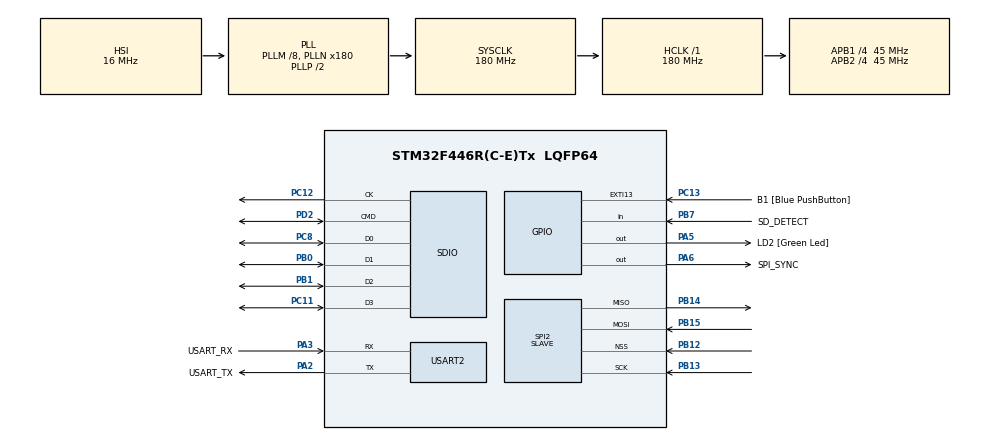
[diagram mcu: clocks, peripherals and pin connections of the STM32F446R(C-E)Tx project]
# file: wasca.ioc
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Dma.Request0=SPI2_RX
Dma.Request1=SPI2_TX
Dma.SPI2_RX.0.Direction=DMA_PERIPH_TO_MEMORY
Dma.SPI2_RX.0.FIFOMode=DMA_FIFOMODE_DISABLE
Dma.SPI2_RX.0.Instance=DMA1_Stream3
Dma.SPI2_RX.0.MemDataAlignment=DMA_MDATAALIGN_HALFWORD
Dma.SPI2_RX.0.MemInc=DMA_MINC_ENABLE
Dma.SPI2_RX.0.Mode=DMA_NORMAL
Dma.SPI2_RX.0.PeriphDataAlignment=DMA_PDATAALIGN_HALFWORD
Dma.SPI2_RX.0.PeriphInc=DMA_PINC_DISABLE
Dma.SPI2_RX.0.Priority=DMA_PRIORITY_VERY_HIGH
Dma.SPI2_TX.1.Direction=DMA_MEMORY_TO_PERIPH
Dma.SPI2_TX.1.FIFOMode=DMA_FIFOMODE_DISABLE
Dma.SPI2_TX.1.Instance=DMA1_Stream4
Dma.SPI2_TX.1.MemDataAlignment=DMA_MDATAALIGN_HALFWORD
Dma.SPI2_TX.1.MemInc=DMA_MINC_ENABLE
Dma.SPI2_TX.1.Mode=DMA_NORMAL
Dma.SPI2_TX.1.PeriphDataAlignment=DMA_PDATAALIGN_HALFWORD
Dma.SPI2_TX.1.PeriphInc=DMA_PINC_DISABLE
Dma.SPI2_TX.1.Priority=DMA_PRIORITY_VERY_HIGH
FATFS.BSP.number=1
FATFS0.BSP.STBoard=false
FATFS0.BSP.api=Unknown
FATFS0.BSP.i2caddr=0
FATFS0.BSP.instance=PB7
FATFS0.BSP.ip=GPIO
FATFS0.BSP.mode=Input
FATFS0.BSP.name=Detect_SDIO
FATFS0.BSP.solution=PB7
Mcu.Family=STM32F4
Mcu.Name=STM32F446R(C-E)Tx
Mcu.Package=LQFP64
NVIC.DMA1_Stream3_IRQn=true\:0\:0\:false\:false\:true\:false\:true
NVIC.DMA1_Stream4_IRQn=true\:0\:0\:false\:false\:true\:false\:true
NVIC.PriorityGroup=NVIC_PRIORITYGROUP_0
NVIC.SPI2_IRQn=true\:0\:0\:false\:false\:true\:true\:true
PA13.GPIO_Label=TMS
PA13.Mode=JTAG_5_pins
PA13.Signal=SYS_JTMS-SWDIO
PA14.GPIO_Label=TCK
PA14.Mode=JTAG_5_pins
PA14.Signal=SYS_JTCK-SWCLK
PA15.Mode=JTAG_5_pins
PA15.Signal=SYS_JTDI
PA2.GPIO_Label=USART_TX
PA2.Mode=Asynchronous
PA2.Signal=USART2_TX
PA3.GPIO_Label=USART_RX
PA3.Mode=Asynchronous
PA3.Signal=USART2_RX
PA5.GPIO_Label=LD2 [Green Led]
PA5.Signal=GPIO_Output
PA6.GPIO_Label=SPI_SYNC
PA6.GPIO_Speed=GPIO_SPEED_FREQ_VERY_HIGH
PA6.PinState=GPIO_PIN_SET
PA6.Signal=GPIO_Output
PB0.Mode=SD_4_bits_Wide_bus
PB0.Signal=SDIO_D1
PB1.Mode=SD_4_bits_Wide_bus
PB1.Signal=SDIO_D2
PB12.Mode=NSS_Signal_Hard_Input
PB12.Signal=SPI2_NSS
PB13.Mode=Full_Duplex_Slave
PB13.Signal=SPI2_SCK
PB14.Mode=Full_Duplex_Slave
PB14.Signal=SPI2_MISO
PB15.Mode=Full_Duplex_Slave
PB15.Signal=SPI2_MOSI
PB3.GPIO_Label=SWO
PB3.Mode=JTAG_5_pins
PB3.Signal=SYS_JTDO-SWO
PB4.Mode=JTAG_5_pins
PB4.Signal=SYS_JTRST
PB7.GPIO_Label=SD_DETECT
PB7.Signal=GPIO_Input
PC11.Mode=SD_4_bits_Wide_bus
PC11.Signal=SDIO_D3
PC12.GPIO_PuPd=GPIO_NOPULL
PC12.Mode=SD_4_bits_Wide_bus
PC12.Signal=SDIO_CK
PC13.GPIO_Label=B1 [Blue PushButton]
PC13.GPIO_ModeDefaultEXTI=GPIO_MODE_IT_FALLING
PC13.Signal=GPXTI13
PC14-OSC32_IN.Mode=LSE-External-Oscillator
PC14-OSC32_IN.Signal=RCC_OSC32_IN
PC15-OSC32_OUT.Mode=LSE-External-Oscillator
PC15-OSC32_OUT.Signal=RCC_OSC32_OUT
PC8.Mode=SD_4_bits_Wide_bus
PC8.Signal=SDIO_D0
PD2.GPIO_PuPd=GPIO_NOPULL
PD2.Mode=SD_4_bits_Wide_bus
PD2.Signal=SDIO_CMD
PH0-OSC_IN.Mode=HSE-External-Oscillator
PH0-OSC_IN.Signal=RCC_OSC_IN
PH1-OSC_OUT.Mode=HSE-External-Oscillator
PH1-OSC_OUT.Signal=RCC_OSC_OUT
ProjectManager.HeapSize=0x4000
ProjectManager.StackSize=0x800
ProjectManager.TargetToolchain=Makefile
RCC.48MHZClocksFreq_Value=84000000
RCC.AHBFreq_Value=180000000
RCC.APB1CLKDivider=RCC_HCLK_DIV4
RCC.APB1Freq_Value=45000000
RCC.APB1TimFreq_Value=90000000
RCC.APB2CLKDivider=RCC_HCLK_DIV4
RCC.APB2Freq_Value=45000000
RCC.APB2TimFreq_Value=90000000
RCC.CortexFreq_Value=180000000
RCC.FLatency-AdvancedSettings=FLASH_LATENCY_5
RCC.HCLKFreq_Value=180000000
RCC.HSE_VALUE=22579200
RCC.HSI_VALUE=16000000
RCC.PLLM=8
RCC.PLLN=180
RCC.PLLQ=8
RCC.PLLSAIP=RCC_PLLSAIP_DIV4
RCC.SYSCLKFreq_VALUE=180000000
RCC.SYSCLKSource=RCC_SYSCLKSOURCE_PLLCLK
RCC.USBCLockSelection=RCC_CLK48CLKSOURCE_PLLSAIP
RCC.USBFreq_Value=48000000
RCC.VCOOutputFreq_Value=360000000
SDIO.ClockDiv=0
SPI2.DataSize=SPI_DATASIZE_16BIT
SPI2.Direction=SPI_DIRECTION_2LINES
SPI2.Mode=SPI_MODE_SLAVE
SPI2.VirtualNSS=VM_NSSHARD
SPI2.VirtualType=VM_SLAVE
USART2.VirtualMode=VM_ASYNC
VP_CRC_VS_CRC.Mode=CRC_Activate
VP_FATFS_VS_SDIO.Mode=SDIO
board=NUCLEO-F446RE

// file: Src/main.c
/* USER CODE BEGIN Header */
/**
  ******************************************************************************
  * @file           : main.c
  * @brief          : Main program body
  ******************************************************************************
  * @attention
  *
  * <h2><center>&copy; Copyright (c) 2020 STMicroelectronics.
  * All rights reserved.</center></h2>
  *
  * This software component is licensed by ST under Ultimate Liberty license
  * SLA0044, the "License"; You may not use this file except in compliance with
  * the License. You may obtain a copy of the License at:
  *                             www.st.com/SLA0044
  *
  ******************************************************************************
  */
/* USER CODE END Header */
#include "main.h"
#include "fatfs.h"

/* USER CODE BEGIN Includes */

#include <fatfs.h>

#include <string.h>
#include "spi_max10.h"
#include "log.h"
#include "misc_tests.h"

/* USER CODE END Includes */

CRC_HandleTypeDef hcrc;

SD_HandleTypeDef hsd;

SPI_HandleTypeDef hspi2;
DMA_HandleTypeDef hdma_spi2_rx;
DMA_HandleTypeDef hdma_spi2_tx;

UART_HandleTypeDef huart2;

/* USER CODE BEGIN PV */
/* Private variables ---------------------------------------------------------*/

/* File system object for SD card logical drive */
FATFS SDFatFs;

/* USER CODE END PV */

void SystemClock_Config(void);
static void MX_GPIO_Init(void);
static void MX_DMA_Init(void);
static void MX_USART2_UART_Init(void);
static void MX_SPI2_Init(void);
static void MX_SDIO_SD_Init(void);
static void MX_CRC_Init(void);
/* USER CODE BEGIN PFP */
/* Private function prototypes -----------------------------------------------*/

/* USER CODE END PFP */

/* USER CODE BEGIN 0 */

// Redirect printf to UART
// Related information : http://www.openstm32.org/forumthread1346
int __io_putchar(int ch)
{
    HAL_UART_Transmit(&huart2, (uint8_t *)&ch, 1, 0xFFFF);

    return ch;
}
int _write(int file, char *ptr, int len)
{
    int DataIdx;

    for (DataIdx = 0; DataIdx < len; DataIdx++)
    {
        __io_putchar(*ptr++);
    }
    return len;
}

/* USER CODE END 0 */

int main(void)
{

  /* MCU Configuration--------------------------------------------------------*/

  /* Reset of all peripherals, Initializes the Flash interface and the Systick. */
  HAL_Init();

  /* USER CODE BEGIN Init */
  log_init();
  /* USER CODE END Init */

  /* Configure the system clock */
  SystemClock_Config();

  /* Initialize all configured peripherals */
  MX_GPIO_Init();
  MX_DMA_Init();
  MX_USART2_UART_Init();
  MX_SPI2_Init();
  MX_SDIO_SD_Init();
  MX_FATFS_Init();
  MX_CRC_Init();
  /* USER CODE BEGIN 2 */

  /* Output a message on Hyperterminal using printf function */
  termout(WL_LOG_DEBUGNORMAL, "UART Printf Example: retarget the C library printf function to the UART");
  termout(WL_LOG_DEBUGNORMAL, "Build Date : %s, time : %s, for Nucleo F446RE.", __DATE__, __TIME__);

  /* Initialize SD card and FatFs. */
  termout(WL_LOG_DEBUGNORMAL, "retSD:%d SDPath:%c%c%c%c", retSD, SDPath[0], SDPath[1], SDPath[2], SDPath[3]);
  termout(WL_LOG_DEBUGNORMAL, "BSP_SD_IsDetected:%d", BSP_SD_IsDetected());
  if(retSD == 0)
  {
    /* success: set the orange LED on */
    // HAL_GPIO_WritePin(GPIOG, GPIO_PIN_7, GPIO_PIN_RESET);

    /*##-2- Register the file system object to the FatFs module ###*/
    termout(WL_LOG_DEBUGNORMAL, "FatFs Initialization STT ...");
    if(f_mount(&SDFatFs, (TCHAR const*)SDPath, 0) != FR_OK)
    {
        /* FatFs Initialization Error : set the red LED on */
        termout(WL_LOG_DEBUGNORMAL, "FatFs Initialization Error !");
        //HAL_GPIO_WritePin(GPIOG, GPIO_PIN_10, GPIO_PIN_RESET);
        //while(1);
    }
  }

#if 0
while(1) // TEST : see how good or bad SPI synchronization status is read from MAX10
{
//#define SPI_MAX10_RCV_HDR_READY() HAL_GPIO_WritePin(GPIOA, SPI_SYNC_Pin, GPIO_PIN_RESET)
//#define SPI_MAX10_SND_RSP_READY() HAL_GPIO_WritePin(GPIOA, SPI_SYNC_Pin, GPIO_PIN_SET  )
    int stateOfPushButton = HAL_GPIO_ReadPin(B1_GPIO_Port, B1_Pin);
    if(stateOfPushButton == GPIO_PIN_RESET)
    {
        HAL_GPIO_WritePin(SPI_SYNC_Port, SPI_SYNC_Pin, GPIO_PIN_RESET);
        HAL_GPIO_WritePin(LD2_GPIO_Port, LD2_Pin, GPIO_PIN_RESET);
    }
    else
    {
        HAL_GPIO_WritePin(SPI_SYNC_Port, SPI_SYNC_Pin, GPIO_PIN_SET  );
        HAL_GPIO_WritePin(LD2_GPIO_Port, LD2_Pin, GPIO_PIN_SET);
    }
}
#endif

  logout(WL_LOG_DEBUGNORMAL, "---");
  logout(WL_LOG_DEBUGNORMAL, "UART Printf Example: retarget the C library printf function to the UART");
  logout(WL_LOG_DEBUGNORMAL, "Build Date : %s, time : %s, for Nucleo F446RE.", __DATE__, __TIME__);

  /* Initialize SPI internals. */
  spi_init();

  /* USER CODE END 2 */

  /* Infinite loop */
  /* USER CODE BEGIN WHILE */
  unsigned char logmsg_id = 0;

  /* Count the number of packets received between two time intervals. */
  unsigned long spi_init_cnt = 0;
  unsigned long prev_spi_init_cnt = spi_init_cnt;
  unsigned long prev_spi_init_tickcnt = HAL_GetTick();

  unsigned long prev_tick = HAL_GetTick();
  while (1)
  {
    wl_spi_pkt_t* trans_hdr = &_spi_trans_hdr;

    /* Display SPI communication status. */
    log_infos_t* log_info = &_log_inf_data;

    /* Compute the number of packets exchanged in one second. */
    unsigned long spi_init_tickcnt = HAL_GetTick();
    unsigned long spi_tick_delta = spi_init_tickcnt - prev_spi_init_tickcnt;
    if(spi_tick_delta == 0)
    {
        spi_tick_delta = 1;
    }

    unsigned long spi_packet_rate = spi_init_cnt - prev_spi_init_cnt;
    spi_packet_rate = (1000 * spi_packet_rate) / spi_tick_delta;

    /* Also indicate transfer speed in KB/s unit.
     * Note : as same data size is sent in both directions between
     *        MAX 10 and STM32, speed is indicated as "theoretical"
     *        maximum speed that would be reached with proper transmission
     *        protocol which (for example) would feature larger packet
     *        size from the device transferring the larger amount of data.
     */
    unsigned long spi_speed_kbps = spi_packet_rate * (WL_SPI_PARAMS_LEN * 2);
    spi_speed_kbps = spi_speed_kbps / 1024;

    prev_spi_init_cnt = spi_init_cnt;
    prev_spi_init_tickcnt = spi_init_tickcnt;

    trans_hdr->data[WL_SPI_DATA_LEN-1] = '\0';
    logout(WL_LOG_DEBUGNORMAL, "[%08X:%d] ID[%3u] PKT/s[%4u][%4u KB/s] [%s] [cbu:%5u] R:%04X W:%04X"
        , (unsigned int)HAL_GetTick()
        , _spi_state
        , (unsigned int)logmsg_id
        , (unsigned int)spi_packet_rate
        , (unsigned int)spi_speed_kbps
        //, trans_hdr->cmn.magic_ca , trans_hdr->cmn.magic_fe // PKT[%02X %02X]
        , trans_hdr->data
        , (unsigned int)log_cbmem_use()
        , log_info->readptr, log_info->writeptr
        );

    logmsg_id++;

    //int i;
    while(1)
    {
        // // STM32 SPI synchronization test (I/O test only) vvv
        // int stateOfPushButton = HAL_GPIO_ReadPin(B1_GPIO_Port, B1_Pin);
        // logout(WL_LOG_DEBUGNORMAL, "    [0x%08X][%s::%d] SYNC:%d", (unsigned int)HAL_GetTick(), __FILE__, __LINE__, stateOfPushButton);
        // HAL_GPIO_WritePin(SPI_SYNC_Port, SPI_SYNC_Pin, (stateOfPushButton ? GPIO_PIN_SET : GPIO_PIN_RESET));
        // // STM32 SPI synchronization test (I/O test only) ^^^

        //HAL_Delay(50);

        /* Send log message at a reasonable rate when blue button is released,
         * and like crazy when it is pushed.
         */
        unsigned long log_period = (HAL_GPIO_ReadPin(B1_GPIO_Port, B1_Pin) == GPIO_PIN_RESET ? 10 : 500);
        if((HAL_GetTick() - prev_tick) > log_period)
        {
            break;
        }

        /* If packet received from MAX 10,
         * then process its answer.
         */
        if(spi_periodic_check() == 1)
        {
            spi_init_cnt++;
        }

        /* Do miscellaneous tests. */
        do_tests();
    }

    prev_tick = HAL_GetTick();

    /* USER CODE END WHILE */

    /* USER CODE BEGIN 3 */

  }

  /* Terminate FatFs (never called). */
  termout(WL_LOG_DEBUGNORMAL, "FATFS_UnLinkDriver ...");
  FATFS_UnLinkDriver(SDPath);

  /* USER CODE END 3 */
}

void SystemClock_Config(void)
{
  RCC_OscInitTypeDef RCC_OscInitStruct = {0};
  RCC_ClkInitTypeDef RCC_ClkInitStruct = {0};
  RCC_PeriphCLKInitTypeDef PeriphClkInitStruct = {0};

  /** Configure the main internal regulator output voltage
  */
  __HAL_RCC_PWR_CLK_ENABLE();
  __HAL_PWR_VOLTAGESCALING_CONFIG(PWR_REGULATOR_VOLTAGE_SCALE1);
  /** Initializes the RCC Oscillators according to the specified parameters
  * in the RCC_OscInitTypeDef structure.
  */
  RCC_OscInitStruct.OscillatorType = RCC_OSCILLATORTYPE_HSI;
  RCC_OscInitStruct.HSIState = RCC_HSI_ON;
  RCC_OscInitStruct.HSICalibrationValue = RCC_HSICALIBRATION_DEFAULT;
  RCC_OscInitStruct.PLL.PLLState = RCC_PLL_ON;
  RCC_OscInitStruct.PLL.PLLSource = RCC_PLLSOURCE_HSI;
  RCC_OscInitStruct.PLL.PLLM = 8;
  RCC_OscInitStruct.PLL.PLLN = 180;
  RCC_OscInitStruct.PLL.PLLP = RCC_PLLP_DIV2;
  RCC_OscInitStruct.PLL.PLLQ = 8;
  RCC_OscInitStruct.PLL.PLLR = 2;
  if (HAL_RCC_OscConfig(&RCC_OscInitStruct) != HAL_OK)
  {
    Error_Handler();
  }
  /** Activate the Over-Drive mode
  */
  if (HAL_PWREx_EnableOverDrive() != HAL_OK)
  {
    Error_Handler();
  }
  /** Initializes the CPU, AHB and APB buses clocks
  */
  RCC_ClkInitStruct.ClockType = RCC_CLOCKTYPE_HCLK|RCC_CLOCKTYPE_SYSCLK
                              |RCC_CLOCKTYPE_PCLK1|RCC_CLOCKTYPE_PCLK2;
  RCC_ClkInitStruct.SYSCLKSource = RCC_SYSCLKSOURCE_PLLCLK;
  RCC_ClkInitStruct.AHBCLKDivider = RCC_SYSCLK_DIV1;
  RCC_ClkInitStruct.APB1CLKDivider = RCC_HCLK_DIV4;
  RCC_ClkInitStruct.APB2CLKDivider = RCC_HCLK_DIV4;

  if (HAL_RCC_ClockConfig(&RCC_ClkInitStruct, FLASH_LATENCY_5) != HAL_OK)
  {
    Error_Handler();
  }
  PeriphClkInitStruct.PeriphClockSelection = RCC_PERIPHCLK_SDIO|RCC_PERIPHCLK_CLK48;
  PeriphClkInitStruct.PLLSAI.PLLSAIM = 16;
  PeriphClkInitStruct.PLLSAI.PLLSAIN = 192;
  PeriphClkInitStruct.PLLSAI.PLLSAIQ = 2;
  PeriphClkInitStruct.PLLSAI.PLLSAIP = RCC_PLLSAIP_DIV4;
  PeriphClkInitStruct.PLLSAIDivQ = 1;
  PeriphClkInitStruct.Clk48ClockSelection = RCC_CLK48CLKSOURCE_PLLSAIP;
  PeriphClkInitStruct.SdioClockSelection = RCC_SDIOCLKSOURCE_CLK48;
  if (HAL_RCCEx_PeriphCLKConfig(&PeriphClkInitStruct) != HAL_OK)
  {
    Error_Handler();
  }
}

static void MX_CRC_Init(void)
{

  hcrc.Instance = CRC;
  if (HAL_CRC_Init(&hcrc) != HAL_OK)
  {
    Error_Handler();
  }

}

static void MX_SDIO_SD_Init(void)
{

  hsd.Instance = SDIO;
  hsd.Init.ClockEdge = SDIO_CLOCK_EDGE_RISING;
  hsd.Init.ClockBypass = SDIO_CLOCK_BYPASS_DISABLE;
  hsd.Init.ClockPowerSave = SDIO_CLOCK_POWER_SAVE_DISABLE;
  hsd.Init.BusWide = SDIO_BUS_WIDE_1B;
  hsd.Init.HardwareFlowControl = SDIO_HARDWARE_FLOW_CONTROL_DISABLE;
  hsd.Init.ClockDiv = 0;

}

static void MX_SPI2_Init(void)
{

  /* SPI2 parameter configuration*/
  hspi2.Instance = SPI2;
  hspi2.Init.Mode = SPI_MODE_SLAVE;
  hspi2.Init.Direction = SPI_DIRECTION_2LINES;
  hspi2.Init.DataSize = SPI_DATASIZE_16BIT;
  hspi2.Init.CLKPolarity = SPI_POLARITY_LOW;
  hspi2.Init.CLKPhase = SPI_PHASE_1EDGE;
  hspi2.Init.NSS = SPI_NSS_HARD_INPUT;
  hspi2.Init.FirstBit = SPI_FIRSTBIT_MSB;
  hspi2.Init.TIMode = SPI_TIMODE_DISABLE;
  hspi2.Init.CRCCalculation = SPI_CRCCALCULATION_DISABLE;
  hspi2.Init.CRCPolynomial = 10;
  if (HAL_SPI_Init(&hspi2) != HAL_OK)
  {
    Error_Handler();
  }

}

static void MX_USART2_UART_Init(void)
{

  huart2.Instance = USART2;
  huart2.Init.BaudRate = 115200;
  huart2.Init.WordLength = UART_WORDLENGTH_8B;
  huart2.Init.StopBits = UART_STOPBITS_1;
  huart2.Init.Parity = UART_PARITY_NONE;
  huart2.Init.Mode = UART_MODE_TX_RX;
  huart2.Init.HwFlowCtl = UART_HWCONTROL_NONE;
  huart2.Init.OverSampling = UART_OVERSAMPLING_16;
  if (HAL_UART_Init(&huart2) != HAL_OK)
  {
    Error_Handler();
  }

}

static void MX_DMA_Init(void)
{

  /* DMA controller clock enable */
  __HAL_RCC_DMA1_CLK_ENABLE();

  /* DMA interrupt init */
  /* DMA1_Stream3_IRQn interrupt configuration */
  HAL_NVIC_SetPriority(DMA1_Stream3_IRQn, 0, 0);
  HAL_NVIC_EnableIRQ(DMA1_Stream3_IRQn);
  /* DMA1_Stream4_IRQn interrupt configuration */
  HAL_NVIC_SetPriority(DMA1_Stream4_IRQn, 0, 0);
  HAL_NVIC_EnableIRQ(DMA1_Stream4_IRQn);

}

static void MX_GPIO_Init(void)
{
  GPIO_InitTypeDef GPIO_InitStruct = {0};

  /* GPIO Ports Clock Enable */
  __HAL_RCC_GPIOC_CLK_ENABLE();
  __HAL_RCC_GPIOH_CLK_ENABLE();
  __HAL_RCC_GPIOA_CLK_ENABLE();
  __HAL_RCC_GPIOB_CLK_ENABLE();
  __HAL_RCC_GPIOD_CLK_ENABLE();

  /*Configure GPIO pin Output Level */
  HAL_GPIO_WritePin(LD2_GPIO_Port, LD2_Pin, GPIO_PIN_RESET);

  /*Configure GPIO pin Output Level */
  HAL_GPIO_WritePin(SPI_SYNC_GPIO_Port, SPI_SYNC_Pin, GPIO_PIN_SET);

  /*Configure GPIO pin : B1_Pin */
  GPIO_InitStruct.Pin = B1_Pin;
  GPIO_InitStruct.Mode = GPIO_MODE_IT_FALLING;
  GPIO_InitStruct.Pull = GPIO_NOPULL;
  HAL_GPIO_Init(B1_GPIO_Port, &GPIO_InitStruct);

  /*Configure GPIO pin : LD2_Pin */
  GPIO_InitStruct.Pin = LD2_Pin;
  GPIO_InitStruct.Mode = GPIO_MODE_OUTPUT_PP;
  GPIO_InitStruct.Pull = GPIO_NOPULL;
  GPIO_InitStruct.Speed = GPIO_SPEED_FREQ_LOW;
  HAL_GPIO_Init(LD2_GPIO_Port, &GPIO_InitStruct);

  /*Configure GPIO pin : SPI_SYNC_Pin */
  GPIO_InitStruct.Pin = SPI_SYNC_Pin;
  GPIO_InitStruct.Mode = GPIO_MODE_OUTPUT_PP;
  GPIO_InitStruct.Pull = GPIO_NOPULL;
  GPIO_InitStruct.Speed = GPIO_SPEED_FREQ_VERY_HIGH;
  HAL_GPIO_Init(SPI_SYNC_GPIO_Port, &GPIO_InitStruct);

  /*Configure GPIO pin : SD_DETECT_Pin */
  GPIO_InitStruct.Pin = SD_DETECT_Pin;
  GPIO_InitStruct.Mode = GPIO_MODE_INPUT;
  GPIO_InitStruct.Pull = GPIO_NOPULL;
  HAL_GPIO_Init(SD_DETECT_GPIO_Port, &GPIO_InitStruct);

}

void Error_Handler(void)
{
  /* USER CODE BEGIN Error_Handler_Debug */
  /* User can add his own implementation to report the HAL error return state */

    logout(WL_LOG_DEBUGNORMAL, "***-***-***-***-***-***");
    // logout(WL_LOG_DEBUGNORMAL, "Tick[0x%08X] Error_Handler at \"%s\"::%d"
    //     , (unsigned int)HAL_GetTick()
    //     , file
    //     , line);

    /* Make LD2 (green LED) blinking for a small while when error happens. */
    int i;
    for(i=0; i<3; i++)
    {
        HAL_GPIO_WritePin(GPIOA, LD2_Pin, GPIO_PIN_SET);
        HAL_Delay(200);
        HAL_GPIO_WritePin(GPIOA, LD2_Pin, GPIO_PIN_RESET);
        HAL_Delay(200);
    }

  //while(1)
  //{
  //}
  /* USER CODE END Error_Handler_Debug */
}

/************************ (C) COPYRIGHT STMicroelectronics *****END OF FILE****/
